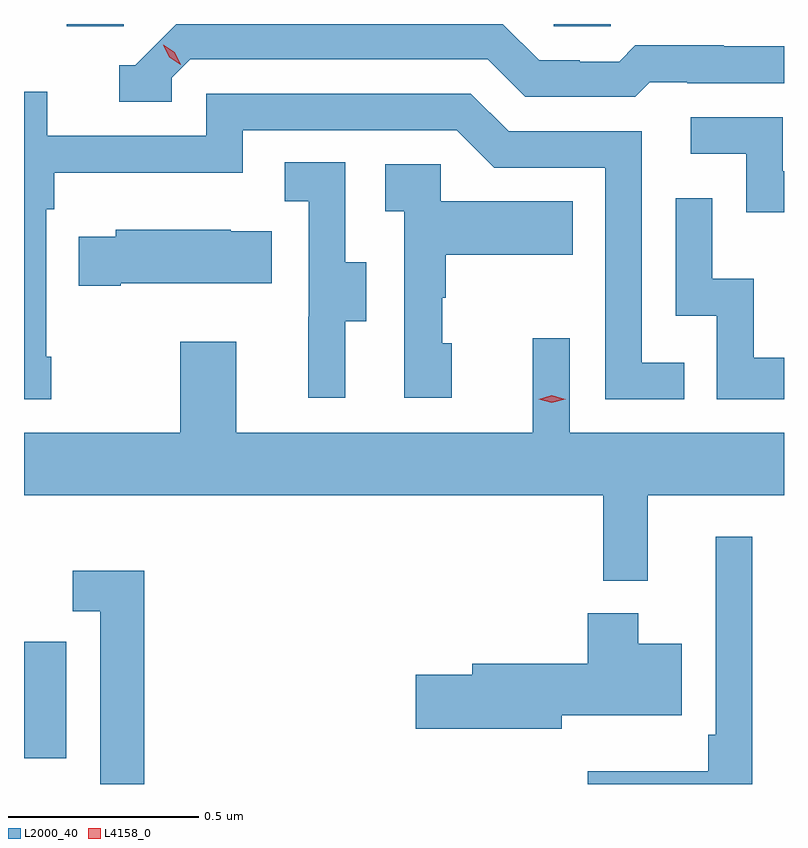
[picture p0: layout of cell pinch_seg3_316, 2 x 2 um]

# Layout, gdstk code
import gdstk
lib = gdstk.Library(unit=1e-6, precision=1e-09)
def R(c, l, rs):  # rectangles x0, y0, x1, y1
    for r in rs: c.add(gdstk.rectangle(r[:2], r[2:], *l))
def P(c, l, *ps):  # polygons
    for p in ps: c.add(gdstk.Polygon(p, *l))
L2000_40 = (2000, 40)
L4158_0 = (4158, 0)

pinch_seg3_316 = lib.new_cell('pinch_seg3_316')
R(pinch_seg3_316, L2000_40, [(993.475,706.884,993.586,707.191), (993.587,708.81,993.738,708.816), (994.869,708.81,995.019,708.816)])
P(pinch_seg3_316, L2000_40, [(993.864,708.675),(993.912,708.723),(994.695,708.723),(994.794,708.624),(995.083,708.624),(995.122,708.663),(995.221,708.663),(995.221,708.66),(995.475,708.66),(995.475,708.757),(995.316,708.757),(995.316,708.76),(995.083,708.76),(995.041,708.717),(994.938,708.717),(994.938,708.72),(994.831,708.72),(994.735,708.816),(993.876,708.816),(993.768,708.708),(993.725,708.708),(993.725,708.612),(993.864,708.612)],
  [(993.547,707.941),(993.534,707.941),(993.534,708.329),(993.554,708.329),(993.554,708.425),(994.05,708.425),(994.05,708.537),(994.614,708.537),(994.713,708.438),(995.004,708.438),(995.004,707.829),(995.213,707.829),(995.213,707.925),(995.1,707.925),(995.1,708.534),(994.75,708.534),(994.651,708.633),(993.954,708.633),(993.954,708.522),(993.536,708.522),(993.536,708.638),(993.475,708.638),(993.475,707.829),(993.547,707.829)],
  [(995.475,708.429),(995.472,708.429),(995.472,708.57),(995.229,708.57),(995.229,708.474),(995.376,708.474),(995.376,708.321),(995.475,708.321)],
  [(994.321,708.034),(994.375,708.034),(994.375,708.189),(994.32,708.189),(994.32,708.452),(994.161,708.452),(994.161,708.349),(994.224,708.349),(994.224,708.045),(994.223,708.045),(994.223,707.832),(994.321,707.832)],
  [(994.6,707.976),(994.575,707.976),(994.575,708.095),(994.585,708.095),(994.585,708.209),(994.919,708.209),(994.919,708.349),(994.572,708.349),(994.572,708.447),(994.425,708.447),(994.425,708.323),(994.476,708.323),(994.476,707.832),(994.6,707.832)],
  [(995.475,707.938),(995.396,707.938),(995.396,708.146),(995.286,708.146),(995.286,708.358),(995.19,708.358),(995.19,708.048),(995.298,708.048),(995.298,707.829),(995.475,707.829)],
  [(993.73,708.134),(994.127,708.134),(994.127,708.271),(994.019,708.271),(994.019,708.274),(993.717,708.274),(993.717,708.256),(993.619,708.256),(993.619,708.127),(993.73,708.127)],
  [(995.117,707.576),(995.475,707.576),(995.475,707.74),(994.911,707.74),(994.911,707.989),(994.814,707.989),(994.814,707.74),(994.033,707.74),(994.033,707.98),(993.886,707.98),(993.886,707.74),(993.475,707.74),(993.475,707.576),(994.999,707.576),(994.999,707.351),(995.117,707.351)],
  [(995.392,707.467),(995.295,707.467),(995.295,706.945),(995.275,706.945),(995.275,706.849),(994.958,706.849),(994.958,706.816),(995.392,706.816)],
  [(993.791,707.377),(993.603,707.377),(993.603,707.271),(993.675,707.271),(993.675,706.816),(993.791,706.816)],
  [(994.89,706.997),(995.206,706.997),(995.206,707.185),(995.092,707.185),(995.092,707.266),(994.958,707.266),(994.958,707.133),(994.655,707.133),(994.655,707.103),(994.506,707.103),(994.506,706.961),(994.89,706.961)])
P(pinch_seg3_316, L4158_0, [(994.864,707.819),(994.829,707.828),(994.828,707.829),(994.829,707.829),(994.864,707.839),(994.899,707.829),(994.9,707.829),(994.899,707.828)],
  [(993.888,708.709),(993.857,708.728),(993.841,708.761),(993.841,708.761),(993.841,708.761),(993.872,708.742),(993.888,708.709),(993.888,708.709)])

lib.write_gds('pinch_seg3_316.gds')
